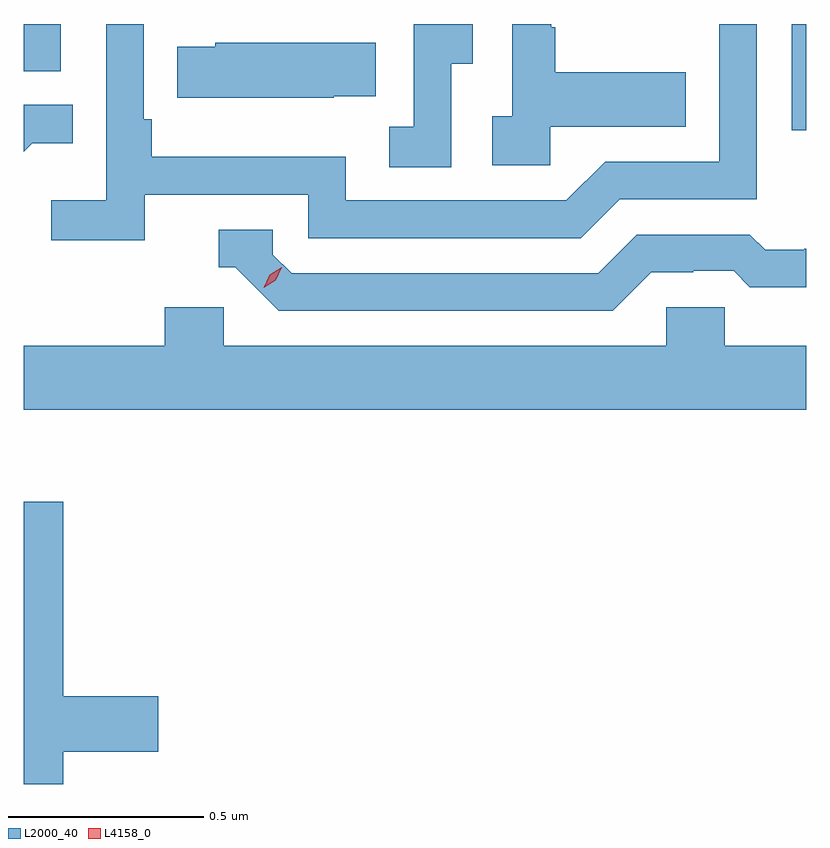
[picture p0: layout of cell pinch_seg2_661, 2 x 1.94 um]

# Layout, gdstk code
import gdstk
lib = gdstk.Library(unit=1e-6, precision=1e-09)
def R(c, l, rs):  # rectangles x0, y0, x1, y1
    for r in rs: c.add(gdstk.rectangle(r[:2], r[2:], *l))
def P(c, l, *ps):  # polygons
    for p in ps: c.add(gdstk.Polygon(p, *l))
L2000_40 = (2000, 40)
L4158_0 = (4158, 0)

pinch_seg2_661 = lib.new_cell('pinch_seg2_661')
R(pinch_seg2_661, L2000_40, [(1079.106,597.735,1079.143,598.006), (1077.143,597.885,1077.238,598.006)])
P(pinch_seg2_661, L2000_40, [(1078.488,597.743),(1078.835,597.743),(1078.835,597.883),(1078.501,597.883),(1078.501,597.998),(1078.491,597.998),(1078.491,598.006),(1078.392,598.006),(1078.392,597.77),(1078.341,597.77),(1078.341,597.645),(1078.488,597.645)],
  [(1077.452,597.57),(1077.87,597.57),(1077.87,597.459),(1078.567,597.459),(1078.666,597.558),(1079.016,597.558),(1079.016,598.006),(1078.92,598.006),(1078.92,597.654),(1078.629,597.654),(1078.53,597.555),(1077.966,597.555),(1077.966,597.667),(1077.47,597.667),(1077.47,597.763),(1077.45,597.763),(1077.45,598.006),(1077.354,598.006),(1077.354,597.556),(1077.213,597.556),(1077.213,597.454),(1077.452,597.454)],
  [(1078.236,597.904),(1078.291,597.904),(1078.291,598.006),(1078.14,598.006),(1078.14,597.743),(1078.077,597.743),(1078.077,597.64),(1078.236,597.64)],
  [(1077.935,597.821),(1078.043,597.821),(1078.043,597.958),(1077.633,597.958),(1077.633,597.948),(1077.535,597.948),(1077.535,597.818),(1077.935,597.818)],
  [(1077.165,597.701),(1077.269,597.701),(1077.269,597.8),(1077.143,597.8),(1077.143,597.679)],
  [(1078.747,597.372),(1078.854,597.372),(1078.854,597.375),(1078.957,597.375),(1078.999,597.333),(1079.143,597.333),(1079.143,597.432),(1079.137,597.432),(1079.137,597.429),(1079.038,597.429),(1078.999,597.468),(1078.71,597.468),(1078.611,597.369),(1077.828,597.369),(1077.78,597.417),(1077.78,597.48),(1077.641,597.48),(1077.641,597.384),(1077.684,597.384),(1077.795,597.273),(1078.648,597.273)],
  [(1079.143,597.184),(1078.935,597.184),(1078.935,597.282),(1078.785,597.282),(1078.785,597.184),(1077.654,597.184),(1077.654,597.282),(1077.503,597.282),(1077.503,597.184),(1077.143,597.184),(1077.143,597.02),(1079.143,597.02)],
  [(1077.244,596.146),(1077.487,596.146),(1077.487,596.288),(1077.244,596.288),(1077.244,596.785),(1077.143,596.785),(1077.143,596.064),(1077.244,596.064)])
P(pinch_seg2_661, L4158_0, [(1077.756,597.332),(1077.756,597.332),(1077.772,597.365),(1077.803,597.384),(1077.803,597.384),(1077.803,597.384),(1077.787,597.351),(1077.756,597.332)])

lib.write_gds('pinch_seg2_661.gds')
